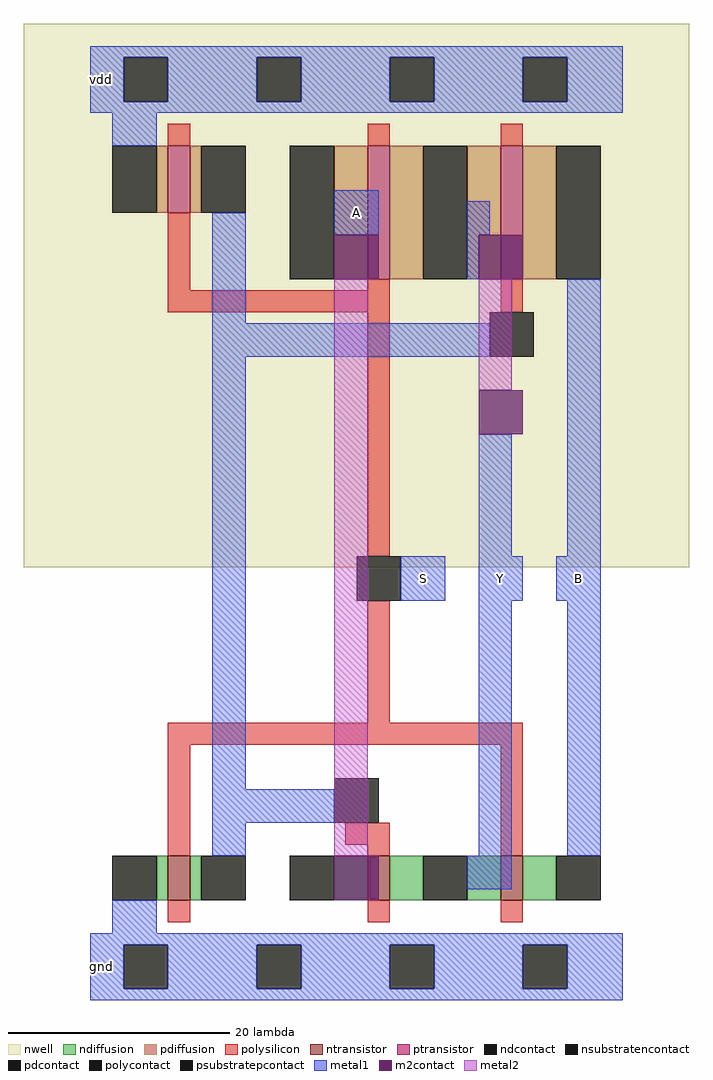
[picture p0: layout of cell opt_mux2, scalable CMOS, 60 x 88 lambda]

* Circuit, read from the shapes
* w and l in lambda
.subckt opt_mux2 A B S Y vdd gnd
M1 n1 S gnd gnd nfet w=4 l=2
M2 Y n1 A gnd nfet w=4 l=2
M3 B S Y gnd nfet w=4 l=2
M4 n1 S vdd vdd pfet w=6 l=2
M5 Y S A vdd pfet w=12 l=2
M6 B n1 Y vdd pfet w=12 l=2
.ends

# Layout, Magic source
magic
tech scmos
<< nwell >>
rect -6 36 54 85
<< ndiffusion >>
rect 6 6 7 10
rect 9 6 10 10
rect 22 6 25 10
rect 27 6 30 10
rect 34 6 37 10
rect 39 6 42 10
<< pdiffusion >>
rect 22 62 25 74
rect 27 62 30 74
rect 34 62 37 74
rect 39 62 42 74
rect 6 68 7 74
rect 9 68 10 74
<< polysilicon >>
rect 7 4 9 6
rect 25 4 27 6
rect 37 4 39 6
rect 7 10 9 20
rect 25 10 27 11
rect 37 10 39 20
rect 23 11 27 13
rect 7 20 39 22
rect 25 22 27 33
rect 25 37 27 59
rect 7 59 27 61
rect 37 59 39 62
rect 7 61 9 68
rect 25 61 27 62
rect 7 74 9 76
rect 25 74 27 76
rect 37 74 39 76
<< ntransistor >>
rect 7 6 9 10
rect 25 6 27 10
rect 37 6 39 10
<< ptransistor >>
rect 25 62 27 74
rect 37 62 39 74
rect 7 68 9 74
<< ndcontact >>
rect 2 6 6 10
rect 10 6 14 10
rect 18 6 22 10
rect 30 6 34 10
rect 42 6 46 10
<< pdcontact >>
rect 18 62 22 74
rect 30 62 34 74
rect 42 62 46 74
rect 2 68 6 74
rect 10 68 14 74
<< polycontact >>
rect 22 13 26 17
rect 24 33 28 37
rect 36 55 40 59
<< psubstratepcontact >>
rect 3 -2 7 2
rect 15 -2 19 2
rect 27 -2 31 2
rect 39 -2 43 2
<< nsubstratencontact >>
rect 3 78 7 82
rect 15 78 19 82
rect 27 78 31 82
rect 39 78 43 82
<< metal1 >>
rect 0 -3 48 -2
rect 0 -2 3 2
rect 7 -2 15 2
rect 19 -2 27 2
rect 31 -2 39 2
rect 43 -2 48 2
rect 0 2 48 3
rect 2 3 6 6
rect 34 7 38 10
rect 11 10 14 13
rect 35 10 38 33
rect 43 10 46 33
rect 11 13 22 16
rect 11 16 14 55
rect 28 33 32 37
rect 35 33 39 37
rect 42 33 46 37
rect 35 37 38 48
rect 43 37 46 62
rect 11 55 36 58
rect 11 58 14 68
rect 34 62 35 66
rect 22 66 26 70
rect 34 66 36 69
rect 2 74 6 77
rect 0 77 48 78
rect 0 78 3 82
rect 7 78 15 82
rect 19 78 27 82
rect 31 78 39 82
rect 43 78 48 82
rect 0 82 48 83
<< m2contact >>
rect 22 6 26 10
rect 35 48 39 52
rect 22 62 26 66
rect 35 62 39 66
<< metal2 >>
rect 22 10 25 62
rect 35 52 38 62
<< labels >>
rlabel metal1 s 22 66 26 70 0 A
port 1 nsew signal input
rlabel metal1 s 42 33 46 37 0 B
port 2 nsew signal input
rlabel metal1 s 28 33 32 37 0 S
port 3 nsew signal input
rlabel metal1 s 35 33 39 37 0 Y
port 4 nsew signal output
rlabel metal1 s 0 77 2 83 0 vdd
port 5 nsew power bidirectional
rlabel metal1 s 0 -3 2 3 0 gnd
port 6 nsew ground bidirectional
<< properties >>
string FIXED_BBOX 0 0 48 80
<< end >>
